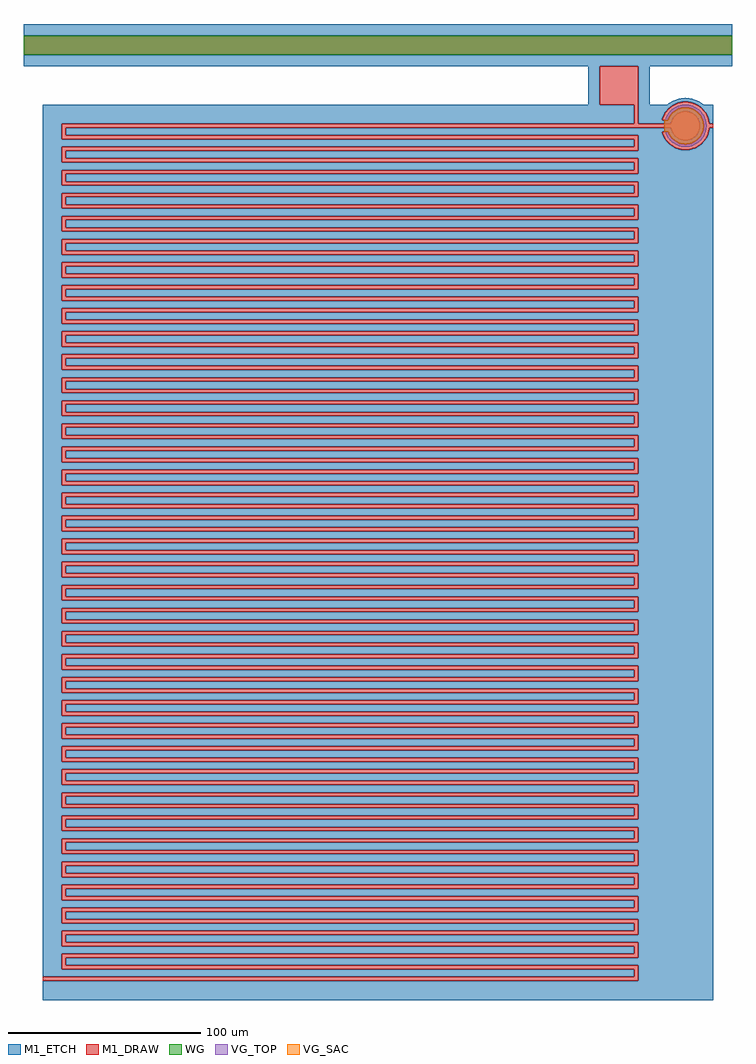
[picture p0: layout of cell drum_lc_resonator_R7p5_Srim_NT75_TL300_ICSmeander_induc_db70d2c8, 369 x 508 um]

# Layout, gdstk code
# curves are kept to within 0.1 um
import gdstk
lib = gdstk.Library(unit=1e-6, precision=1e-09)
def R(c, l, rs):  # rectangles x0, y0, x1, y1
    for r in rs: c.add(gdstk.rectangle(r[:2], r[2:], *l))
def P(c, l, *ps):  # polygons
    for p in ps: c.add(gdstk.Polygon(p, *l))
M1_DRAW = (1, 0)
M1_ETCH = (1, 1)
VG_TOP = (40, 0)
VG_SAC = (40, 1)
WG = (102, 0)

drum_lc_resonator_r7p5_s = lib.new_cell('drum_lc_resonator_R7p5_Srim_NT75_TL300_ICSmeander_induc_db70d2c8')
R(drum_lc_resonator_r7p5_s, M1_DRAW, [(-170,-5,199,5)])
P(drum_lc_resonator_r7p5_s, M1_DRAW, [(174.5,-54.5),(172.061,-54.26),(170.289,-53.769),(168.074,-52.722),(166.57,-51.663),(164.837,-49.93),(163.778,-48.426),(162.952,-46.784),(162.367,-45),(165.489,-45),(166.601,-47.278),(167.461,-48.38),(168.473,-49.344),(170.438,-50.588),(171.742,-51.091),(173.106,-51.397),(175.431,-51.454),(177.7,-50.945),(179.778,-49.899),(180.88,-49.039),(181.844,-48.027),(183.088,-46.062),(183.715,-44.308),(184,-42),(183.715,-39.692),(183.088,-37.938),(181.844,-35.973),(180.527,-34.656),(178.562,-33.412),(176.808,-32.785),(174.966,-32.511),(173.106,-32.603),(171.3,-33.055),(169.222,-34.101),(167.782,-35.282),(166.352,-37.116),(165.489,-39),(162.367,-39),(162.952,-37.216),(163.778,-35.574),(164.837,-34.07),(166.57,-32.337),(168.074,-31.278),(170.289,-30.231),(172.061,-29.74),(174.5,-29.5),(176.939,-29.74),(178.711,-30.231),(180.926,-31.278),(182.43,-32.337),(184.163,-34.07),(185.524,-36.108),(186.462,-38.371),(186.957,-41),(189,-41),(189,-43),(186.957,-43),(186.625,-45.037),(185.8,-47.344),(184.54,-49.446),(182.894,-51.262),(180.926,-52.722),(179.284,-53.548),(176.939,-54.26)],
  [(-160,-487),(-160,-485),(148,-485),(148,-481),(-150,-481),(-150,-473),(148,-473),(148,-469),(-150,-469),(-150,-461),(148,-461),(148,-457),(-150,-457),(-150,-449),(148,-449),(148,-445),(-150,-445),(-150,-437),(148,-437),(148,-433),(-150,-433),(-150,-425),(148,-425),(148,-421),(-150,-421),(-150,-413),(148,-413),(148,-409),(-150,-409),(-150,-401),(148,-401),(148,-397),(-150,-397),(-150,-389),(148,-389),(148,-385),(-150,-385),(-150,-377),(148,-377),(148,-373),(-150,-373),(-150,-365),(148,-365),(148,-361),(-150,-361),(-150,-353),(148,-353),(148,-349),(-150,-349),(-150,-341),(148,-341),(148,-337),(-150,-337),(-150,-329),(148,-329),(148,-325),(-150,-325),(-150,-317),(148,-317),(148,-313),(-150,-313),(-150,-305),(148,-305),(148,-301),(-150,-301),(-150,-293),(148,-293),(148,-289),(-150,-289),(-150,-281),(148,-281),(148,-277),(-150,-277),(-150,-269),(148,-269),(148,-265),(-150,-265),(-150,-257),(148,-257),(148,-253),(-150,-253),(-150,-245),(148,-245),(148,-241),(-150,-241),(-150,-233),(148,-233),(148,-229),(-150,-229),(-150,-221),(148,-221),(148,-217),(-150,-217),(-150,-209),(148,-209),(148,-205),(-150,-205),(-150,-197),(148,-197),(148,-193),(-150,-193),(-150,-185),(148,-185),(148,-181),(-150,-181),(-150,-173),(148,-173),(148,-169),(-150,-169),(-150,-161),(148,-161),(148,-157),(-150,-157),(-150,-149),(148,-149),(148,-145),(-150,-145),(-150,-137),(148,-137),(148,-133),(-150,-133),(-150,-125),(148,-125),(148,-121),(-150,-121),(-150,-113),(148,-113),(148,-109),(-150,-109),(-150,-101),(148,-101),(148,-97),(-150,-97),(-150,-89),(148,-89),(148,-85),(-150,-85),(-150,-77),(148,-77),(148,-73),(-150,-73),(-150,-65),(148,-65),(148,-61),(-150,-61),(-150,-53),(148,-53),(148,-49),(-150,-49),(-150,-41),(148,-41),(148,-31),(130,-31),(130,-11),(150,-11),(150,-41),(167.069,-41),(167.438,-39.473),(168.264,-37.833),(169.463,-36.443),(170.644,-35.567),(171.973,-34.938),(173.765,-34.536),(175.235,-34.536),(177.027,-34.938),(178.356,-35.567),(179.258,-36.202),(180.298,-37.242),(180.933,-38.144),(181.562,-39.473),(181.856,-40.537),(181.991,-41.632),(181.919,-43.1),(181.562,-44.527),(181.114,-45.535),(180.298,-46.758),(179.537,-47.557),(177.707,-48.78),(176.677,-49.177),(175.235,-49.464),(173.765,-49.464),(172.323,-49.177),(170.965,-48.614),(169.742,-47.798),(168.702,-46.758),(167.886,-45.535),(167.323,-44.177),(167.069,-43),(-148,-43),(-148,-47),(150,-47),(150,-55),(-148,-55),(-148,-59),(150,-59),(150,-67),(-148,-67),(-148,-71),(150,-71),(150,-79),(-148,-79),(-148,-83),(150,-83),(150,-91),(-148,-91),(-148,-95),(150,-95),(150,-103),(-148,-103),(-148,-107),(150,-107),(150,-115),(-148,-115),(-148,-119),(150,-119),(150,-127),(-148,-127),(-148,-131),(150,-131),(150,-139),(-148,-139),(-148,-143),(150,-143),(150,-151),(-148,-151),(-148,-155),(150,-155),(150,-163),(-148,-163),(-148,-167),(150,-167),(150,-175),(-148,-175),(-148,-179),(150,-179),(150,-187),(-148,-187),(-148,-191),(150,-191),(150,-199),(-148,-199),(-148,-203),(150,-203),(150,-211),(-148,-211),(-148,-215),(150,-215),(150,-223),(-148,-223),(-148,-227),(150,-227),(150,-235),(-148,-235),(-148,-239),(150,-239),(150,-247),(-148,-247),(-148,-251),(150,-251),(150,-259),(-148,-259),(-148,-263),(150,-263),(150,-271),(-148,-271),(-148,-275),(150,-275),(150,-283),(-148,-283),(-148,-287),(150,-287),(150,-295),(-148,-295),(-148,-299),(150,-299),(150,-307),(-148,-307),(-148,-311),(150,-311),(150,-319),(-148,-319),(-148,-323),(150,-323),(150,-331),(-148,-331),(-148,-335),(150,-335),(150,-343),(-148,-343),(-148,-347),(150,-347),(150,-355),(-148,-355),(-148,-359),(150,-359),(150,-367),(-148,-367),(-148,-371),(150,-371),(150,-379),(-148,-379),(-148,-383),(150,-383),(150,-391),(-148,-391),(-148,-395),(150,-395),(150,-403),(-148,-403),(-148,-407),(150,-407),(150,-415),(-148,-415),(-148,-419),(150,-419),(150,-427),(-148,-427),(-148,-431),(150,-431),(150,-439),(-148,-439),(-148,-443),(150,-443),(150,-451),(-148,-451),(-148,-455),(150,-455),(150,-463),(-148,-463),(-148,-467),(150,-467),(150,-475),(-148,-475),(-148,-479),(150,-479),(150,-487)])
R(drum_lc_resonator_r7p5_s, M1_ETCH, [(-170,5,199,11)])
P(drum_lc_resonator_r7p5_s, M1_ETCH, [(-160,-497),(-160,-487),(150,-487),(150,-479),(-148,-479),(-148,-475),(150,-475),(150,-467),(-148,-467),(-148,-463),(150,-463),(150,-455),(-148,-455),(-148,-451),(150,-451),(150,-443),(-148,-443),(-148,-439),(150,-439),(150,-431),(-148,-431),(-148,-427),(150,-427),(150,-419),(-148,-419),(-148,-415),(150,-415),(150,-407),(-148,-407),(-148,-403),(150,-403),(150,-395),(-148,-395),(-148,-391),(150,-391),(150,-383),(-148,-383),(-148,-379),(150,-379),(150,-371),(-148,-371),(-148,-367),(150,-367),(150,-359),(-148,-359),(-148,-355),(150,-355),(150,-347),(-148,-347),(-148,-343),(150,-343),(150,-335),(-148,-335),(-148,-331),(150,-331),(150,-323),(-148,-323),(-148,-319),(150,-319),(150,-311),(-148,-311),(-148,-307),(150,-307),(150,-299),(-148,-299),(-148,-295),(150,-295),(150,-287),(-148,-287),(-148,-283),(150,-283),(150,-275),(-148,-275),(-148,-271),(150,-271),(150,-263),(-148,-263),(-148,-259),(150,-259),(150,-251),(-148,-251),(-148,-247),(150,-247),(150,-239),(-148,-239),(-148,-235),(150,-235),(150,-227),(-148,-227),(-148,-223),(150,-223),(150,-215),(-148,-215),(-148,-211),(150,-211),(150,-203),(-148,-203),(-148,-199),(150,-199),(150,-191),(-148,-191),(-148,-187),(150,-187),(150,-179),(-148,-179),(-148,-175),(150,-175),(150,-167),(-148,-167),(-148,-163),(150,-163),(150,-155),(-148,-155),(-148,-151),(150,-151),(150,-143),(-148,-143),(-148,-139),(150,-139),(150,-131),(-148,-131),(-148,-127),(150,-127),(150,-119),(-148,-119),(-148,-115),(150,-115),(150,-107),(-148,-107),(-148,-103),(150,-103),(150,-95),(-148,-95),(-148,-91),(150,-91),(150,-83),(-148,-83),(-148,-79),(150,-79),(150,-71),(-148,-71),(-148,-67),(150,-67),(150,-59),(-148,-59),(-148,-55),(150,-55),(150,-47),(-148,-47),(-148,-43),(167.069,-43),(167.323,-44.177),(167.886,-45.535),(168.702,-46.758),(169.463,-47.557),(170.644,-48.433),(171.973,-49.062),(173.4,-49.419),(174.5,-49.5),(175.963,-49.356),(177.37,-48.929),(178.667,-48.236),(179.803,-47.303),(180.736,-46.167),(181.429,-44.87),(181.856,-43.463),(182,-42),(181.919,-40.9),(181.562,-39.473),(180.933,-38.144),(180.057,-36.963),(178.968,-35.976),(177.707,-35.22),(176.322,-34.725),(174.868,-34.509),(173.4,-34.581),(171.973,-34.938),(170.644,-35.567),(169.742,-36.202),(168.702,-37.242),(167.886,-38.465),(167.323,-39.823),(167.069,-41),(150,-41),(150,-11),(130,-11),(130,-31),(148,-31),(148,-41),(-150,-41),(-150,-49),(148,-49),(148,-53),(-150,-53),(-150,-61),(148,-61),(148,-65),(-150,-65),(-150,-73),(148,-73),(148,-77),(-150,-77),(-150,-85),(148,-85),(148,-89),(-150,-89),(-150,-97),(148,-97),(148,-101),(-150,-101),(-150,-109),(148,-109),(148,-113),(-150,-113),(-150,-121),(148,-121),(148,-125),(-150,-125),(-150,-133),(148,-133),(148,-137),(-150,-137),(-150,-145),(148,-145),(148,-149),(-150,-149),(-150,-157),(148,-157),(148,-161),(-150,-161),(-150,-169),(148,-169),(148,-173),(-150,-173),(-150,-181),(148,-181),(148,-185),(-150,-185),(-150,-193),(148,-193),(148,-197),(-150,-197),(-150,-205),(148,-205),(148,-209),(-150,-209),(-150,-217),(148,-217),(148,-221),(-150,-221),(-150,-229),(148,-229),(148,-233),(-150,-233),(-150,-241),(148,-241),(148,-245),(-150,-245),(-150,-253),(148,-253),(148,-257),(-150,-257),(-150,-265),(148,-265),(148,-269),(-150,-269),(-150,-277),(148,-277),(148,-281),(-150,-281),(-150,-289),(148,-289),(148,-293),(-150,-293),(-150,-301),(148,-301),(148,-305),(-150,-305),(-150,-313),(148,-313),(148,-317),(-150,-317),(-150,-325),(148,-325),(148,-329),(-150,-329),(-150,-337),(148,-337),(148,-341),(-150,-341),(-150,-349),(148,-349),(148,-353),(-150,-353),(-150,-361),(148,-361),(148,-365),(-150,-365),(-150,-373),(148,-373),(148,-377),(-150,-377),(-150,-385),(148,-385),(148,-389),(-150,-389),(-150,-397),(148,-397),(148,-401),(-150,-401),(-150,-409),(148,-409),(148,-413),(-150,-413),(-150,-421),(148,-421),(148,-425),(-150,-425),(-150,-433),(148,-433),(148,-437),(-150,-437),(-150,-445),(148,-445),(148,-449),(-150,-449),(-150,-457),(148,-457),(148,-461),(-150,-461),(-150,-469),(148,-469),(148,-473),(-150,-473),(-150,-481),(148,-481),(148,-485),(-160,-485),(-160,-31),(124,-31),(124,-11),(-170,-11),(-170,-5),(199,-5),(199,-11),(156,-11),(156,-31),(165.059,-31),(167.046,-29.563),(169.615,-28.348),(172.372,-27.657),(174.5,-27.5),(176.628,-27.657),(179.385,-28.348),(181.954,-29.563),(183.941,-31),(189,-31),(189,-41),(186.957,-41),(186.462,-38.371),(185.524,-36.108),(184.163,-34.07),(182.43,-32.337),(180.926,-31.278),(179.284,-30.452),(177.537,-29.875),(175.725,-29.56),(173.275,-29.56),(170.871,-30.038),(169.156,-30.7),(167.054,-31.96),(165.661,-33.161),(164.107,-35.055),(162.952,-37.216),(162.367,-39),(165.489,-39),(166.601,-36.722),(167.461,-35.62),(168.473,-34.656),(169.616,-33.852),(170.865,-33.223),(172.192,-32.785),(173.569,-32.546),(175.894,-32.603),(177.258,-32.909),(178.562,-33.412),(180.527,-34.656),(181.539,-35.62),(182.399,-36.722),(183.445,-38.8),(183.897,-40.606),(183.989,-42.466),(183.591,-44.758),(182.648,-46.884),(181.539,-48.38),(179.778,-49.899),(178.135,-50.777),(176.808,-51.215),(174.966,-51.489),(173.106,-51.397),(171.3,-50.945),(169.222,-49.899),(167.782,-48.718),(166.352,-46.884),(165.489,-45),(162.367,-45),(162.952,-46.784),(163.778,-48.426),(164.837,-49.93),(166.106,-51.262),(167.555,-52.393),(169.156,-53.3),(170.871,-53.962),(172.666,-54.365),(175.113,-54.485),(176.939,-54.26),(179.284,-53.548),(181.445,-52.393),(183.339,-50.839),(185.222,-48.426),(186.462,-45.629),(186.957,-43),(189,-43),(189,-497)])
P(drum_lc_resonator_r7p5_s, VG_TOP, [(174.5,-53),(172.354,-52.789),(170.29,-52.163),(168.389,-51.146),(166.722,-49.778),(165.354,-48.111),(164.337,-46.21),(163.711,-44.146),(163.5,-42),(163.711,-39.854),(164.337,-37.79),(165.354,-35.889),(166.722,-34.222),(168.389,-32.854),(170.29,-31.837),(172.354,-31.211),(174.5,-31),(176.646,-31.211),(178.71,-31.837),(180.611,-32.854),(182.278,-34.222),(183.646,-35.889),(184.663,-37.79),(185.289,-39.854),(185.5,-42),(185.289,-44.146),(184.663,-46.21),(183.646,-48.111),(182.278,-49.778),(180.611,-51.146),(178.71,-52.163),(176.646,-52.789)])
P(drum_lc_resonator_r7p5_s, VG_SAC, [(174.5,-51.5),(173.106,-51.397),(171.742,-51.091),(169.616,-50.148),(168.473,-49.344),(167.156,-48.027),(166.122,-46.478),(165.489,-45),(163.5,-45),(163.5,-39),(165.489,-39),(166.122,-37.522),(167.156,-35.973),(168.473,-34.656),(169.616,-33.852),(171.742,-32.909),(173.106,-32.603),(174.5,-32.5),(176.353,-32.683),(178.135,-33.223),(179.778,-34.101),(181.218,-35.282),(182.399,-36.722),(183.277,-38.365),(183.817,-40.147),(184,-42),(183.817,-43.853),(183.277,-45.635),(182.399,-47.278),(181.218,-48.718),(179.778,-49.899),(178.135,-50.777),(176.353,-51.317)])
R(drum_lc_resonator_r7p5_s, WG, [(-170,-5,199,5)])

lib.write_gds('drum_lc_resonator_R7p5_Srim_NT75_TL300_ICSmeander_induc_db70d2c8.gds')
